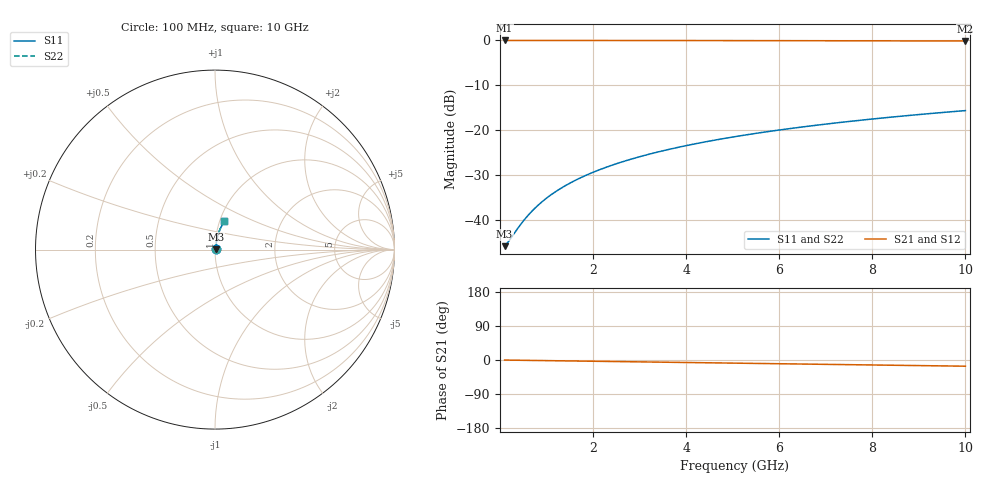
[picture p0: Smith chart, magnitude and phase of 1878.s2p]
# Hz S RI R 50.00
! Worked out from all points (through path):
!   100 points, 100 MHz to 10 GHz, reference 50 ohm
!   highest |S21| = -0.04 dB at 100 MHz (marker M1); lowest = -0.2 dB at 10 GHz (marker M2)
!   group delay of S21, straight-line fit = 4.55 ps
!   lowest |S11| = -45.8 dB at 100 MHz (marker M3), VSWR 1.01, Z = 50.5 + j0.169 ohm
!   |S11| at or under -10 dB: start of sweep to end of sweep
!   |S22| runs from -45.8 to -15.6 dB; largest |S21 - S12| = 0
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1e8  0.00488 0.00167  0.9951 -0.00286  0.9951 -0.00286  0.00488 0.00167
2e8  0.00492 0.00335  0.9951 -0.00572  0.9951 -0.00572  0.00492 0.00335
4e8  0.00502 0.00669  0.995 -0.0114  0.995 -0.0114  0.00502 0.00669
5e8  0.00508 0.00837  0.9949 -0.0143  0.9949 -0.0143  0.00508 0.00837
6e8  0.00515 0.01  0.9948 -0.0172  0.9948 -0.0172  0.00515 0.01
7e8  0.00522 0.0117  0.9947 -0.02  0.9947 -0.02  0.00522 0.0117
9e8  0.0054 0.0151  0.9945 -0.0257  0.9945 -0.0257  0.0054 0.0151
1.1e9  0.00561 0.0184  0.9943 -0.0314  0.9943 -0.0314  0.00561 0.0184
1.3e9  0.00586 0.0217  0.994 -0.0372  0.994 -0.0372  0.00586 0.0217
1.5e9  0.00614 0.0251  0.9937 -0.0429  0.9937 -0.0429  0.00614 0.0251
1.8e9  0.00664 0.0301  0.9931 -0.0514  0.9931 -0.0514  0.00664 0.0301
2.1e9  0.00722 0.035  0.9924 -0.06  0.9924 -0.06  0.00722 0.035
2.5e9  0.00813 0.0417  0.9914 -0.0713  0.9914 -0.0713  0.00813 0.0417
2.9e9  0.00918 0.0483  0.9902 -0.0827  0.9902 -0.0827  0.00918 0.0483
3.4e9  0.0107 0.0565  0.9884 -0.0968  0.9884 -0.0968  0.0107 0.0565
4.2e9  0.0136 0.0695  0.9851 -0.1194  0.9851 -0.1194  0.0136 0.0695
5.1e9  0.0176 0.0839  0.9805 -0.1445  0.9805 -0.1445  0.0176 0.0839
5.9e9  0.0218 0.0966  0.9757 -0.1667  0.9757 -0.1667  0.0218 0.0966
6.7e9  0.0265 0.109  0.9702 -0.1887  0.9702 -0.1887  0.0265 0.109
7.5e9  0.0318 0.1211  0.9641 -0.2104  0.9641 -0.2104  0.0318 0.1211
8.4e9  0.0384 0.1344  0.9565 -0.2345  0.9565 -0.2345  0.0384 0.1344
1e10  0.0517 0.1571  0.9411 -0.2764  0.9411 -0.2764  0.0517 0.1571
